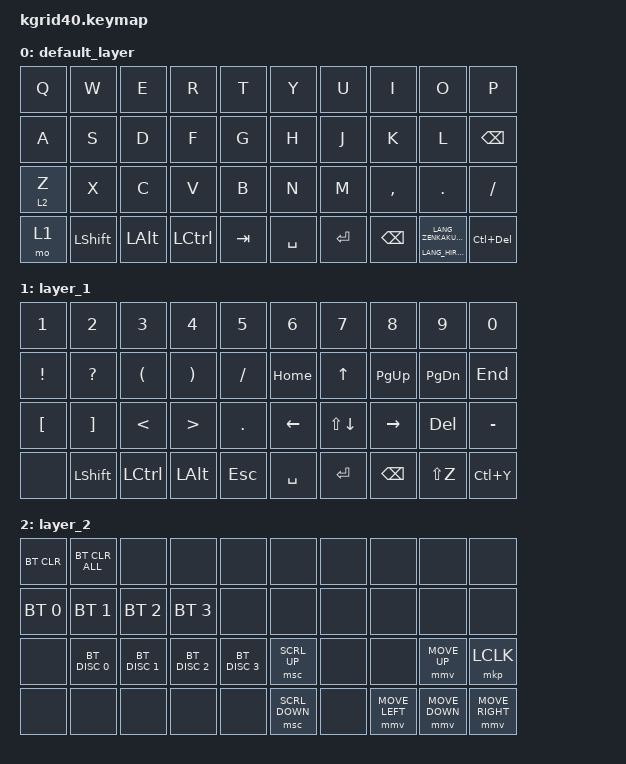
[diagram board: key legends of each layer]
#include <behaviors.dtsi>
#include <dt-bindings/zmk/bt.h>
#include <dt-bindings/zmk/keys.h>
#include <dt-bindings/zmk/pointing.h>

/ {
    /* コンボは干渉を避けるため削除した状態を維持します */

    behaviors {
        ime_ht: ime_ht {
            compatible = "zmk,behavior-hold-tap";
            label = "IME_HT";
            bindings = <&kp>, <&kp>;

            #binding-cells = <2>;
            tapping-term-ms = <200>;
        };
    };

    keymap {
        compatible = "zmk,keymap";

        default_layer {
            bindings = <
&kp Q    &kp W      &kp E         &kp R      &kp T    &kp Y      &kp U      &kp I      &kp O                                      &kp P
&kp A    &kp S      &kp D         &kp F      &kp G    &kp H      &kp J      &kp K      &kp L                                      &kp BACKSPACE
&lt 2 Z  &kp X      &kp C         &kp V      &kp B    &kp N      &kp M      &kp COMMA  &kp DOT                                    &kp SLASH
&mo 1    &kp LSHFT  &kp LEFT_ALT  &kp LCTRL  &kp TAB  &kp SPACE  &kp ENTER  &kp BSPC   &ime_ht LANG_HIRAGANA LANG_ZENKAKUHANKAKU  &kp LC(DELETE)
            >;
        };

        layer_1 {
            bindings = <
&kp NUMBER_1      &kp NUMBER_2       &kp NUMBER_3   &kp NUMBER_4      &kp N5     &kp NUMBER_6    &kp N7        &kp N8           &kp N9         &kp N0
&kp EXCLAMATION   &kp QUESTION       &kp LPAR       &kp RPAR          &kp SLASH  &kp HOME        &kp UP_ARROW  &kp PAGE_UP      &kp PAGE_DOWN  &kp END
&kp LEFT_BRACKET  &kp RIGHT_BRACKET  &kp LESS_THAN  &kp GREATER_THAN  &kp DOT    &kp LEFT_ARROW  &kp LS(DOWN)  &kp RIGHT_ARROW  &kp DEL        &kp MINUS
&none             &kp LSHFT          &kp LCTRL      &kp LEFT_ALT      &kp ESC    &kp SPACE       &kp ENTER     &kp BACKSPACE    &kp LS(Z)      &kp LC(Y)
            >;
        };

        layer_2 {
            bindings = <
&bt BT_CLR    &bt BT_CLR_ALL  &none          &none          &none          &none           &none  &none           &none           &none
&bt BT_SEL 0  &bt BT_SEL 1    &bt BT_SEL 2   &bt BT_SEL 3   &none          &none           &none  &none           &none           &none
&none         &bt BT_DISC 0   &bt BT_DISC 1  &bt BT_DISC 2  &bt BT_DISC 3  &msc SCRL_UP    &none  &none           &mmv MOVE_UP    &mkp LCLK
&none         &none           &none          &none          &none          &msc SCRL_DOWN  &none  &mmv MOVE_LEFT  &mmv MOVE_DOWN  &mmv MOVE_RIGHT
            >;
        };
    };
};
